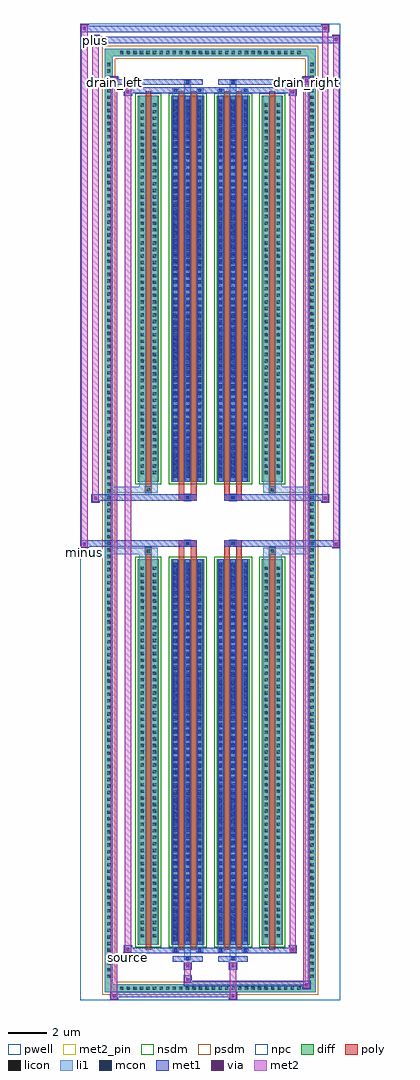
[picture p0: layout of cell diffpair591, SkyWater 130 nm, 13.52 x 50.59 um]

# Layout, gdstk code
import gdstk
lib = gdstk.Library(unit=1e-6, precision=5e-09)
def R(c, l, rs):  # rectangles x0, y0, x1, y1
    for r in rs: c.add(gdstk.rectangle(r[:2], r[2:], *l))
def A(c, l, x, y, w, h, nx, ny, dx, dy):  # array of equal rectangles
    R(c, l, [(x+i*dx, y+j*dy, x+i*dx+w, y+j*dy+h) for i in range(nx) for j in range(ny)])
def P(c, l, *ps):  # polygons
    for p in ps: c.add(gdstk.Polygon(p, *l))
pwell = (64, 44)
diff = (65, 20)
poly = (66, 20)
licon = (66, 44)
li1 = (67, 20)
mcon = (67, 44)
met1 = (68, 20)
via = (68, 44)
met2_pin = (69, 16)
met2 = (69, 20)
nsdm = (93, 44)
psdm = (94, 20)
npc = (95, 20)

diffpair591 = lib.new_cell('diffpair591')
R(diffpair591, pwell, [(-6.74,-24.86,6.74,25.73), (-4.06,-23.05,-0.01,-0.825), (0.01,-23.05,4.06,-0.825), (-4.06,0.825,-0.01,23.05), (0.01,0.825,4.06,23.05)])
A(diffpair591, diff, -4.795, -24.46, 0.41, 0.41, 28, 2, 0.34, 48.51)
A(diffpair591, diff, -5.47, -23.835, 0.41, 0.41, 1, 140, 0, 0.34)
A(diffpair591, diff, 5.06, -23.835, 0.41, 0.41, 1, 140, 0, 0.34)
R(diffpair591, diff, [(-4.795,-24.46,4.795,-24.05), (-5.47,-23.835,-5.06,23.835), (5.06,-23.835,5.47,23.835), (-3.75,-22.005,-2.67,-2.005), (-2.03,-22.005,-0.32,-2.005), (0.32,-22.005,2.03,-2.005), (2.67,-22.005,3.75,-2.005), (-3.75,2.005,-2.67,22.005), (-2.03,2.005,-0.32,22.005), (0.32,2.005,2.03,22.005), (2.67,2.005,3.75,22.005), (-4.795,24.05,4.795,24.46)])
P(diffpair591, diff, [(5.47,24.46),(-5.47,24.46),(-5.47,-24.05),(-5.06,-24.05),(-5.06,24.05),(5.06,24.05),(5.06,-24.05),(-5.06,-24.05),(-5.47,-24.05),(-5.47,-24.46),(5.47,-24.46)])
R(diffpair591, poly, [(-3.36,-22.255,-3.06,-1.755), (-1.64,-22.255,-1.34,-1.755), (-1.01,-22.255,-0.71,-1.755), (0.71,-22.255,1.01,-1.755), (1.34,-22.255,1.64,-1.755), (3.06,-22.255,3.36,-1.755), (-3.375,-1.755,-3.045,-1.425), (-3.375,-1.755,-3.045,-1.425), (-1.64,-1.755,-1.34,-1.355), (-1.01,-1.755,-0.71,-1.355), (0.71,-1.755,1.01,-1.355), (1.34,-1.755,1.64,-1.355), (3.045,-1.755,3.375,-1.425), (3.045,-1.755,3.375,-1.425), (-1.64,-1.355,-0.71,-1.025), (-1.34,-1.355,-1.01,-1.025), (0.71,-1.355,1.64,-1.025), (1.01,-1.355,1.34,-1.025), (-1.64,1.025,-0.71,1.355), (-1.34,1.025,-1.01,1.355), (0.71,1.025,1.64,1.355), (1.01,1.025,1.34,1.355), (-1.64,1.355,-1.34,1.755), (-1.01,1.355,-0.71,1.755), (0.71,1.355,1.01,1.755), (1.34,1.355,1.64,1.755), (-3.375,1.425,-3.045,1.755), (-3.375,1.425,-3.045,1.755), (3.045,1.425,3.375,1.755), (3.045,1.425,3.375,1.755), (-3.36,1.755,-3.06,22.255), (-1.64,1.755,-1.34,22.255), (-1.01,1.755,-0.71,22.255), (0.71,1.755,1.01,22.255), (1.34,1.755,1.64,22.255), (3.06,1.755,3.36,22.255)])
A(diffpair591, licon, -4.675, -24.34, 0.17, 0.17, 28, 2, 0.34, 48.51)
A(diffpair591, licon, -5.35, -23.715, 0.17, 0.17, 1, 140, 0, 0.34)
A(diffpair591, licon, 5.18, -23.715, 0.17, 0.17, 1, 140, 0, 0.34)
A(diffpair591, licon, -3.61, -21.61, 0.17, 0.17, 1, 57, 0, 0.34)
A(diffpair591, licon, -2.98, -21.61, 0.17, 0.17, 1, 57, 0, 0.34)
A(diffpair591, licon, -1.89, -21.61, 0.17, 0.17, 3, 57, 0.63, 0.34)
A(diffpair591, licon, 0.46, -21.61, 0.17, 0.17, 3, 57, 0.63, 0.34)
A(diffpair591, licon, 2.81, -21.61, 0.17, 0.17, 1, 57, 0, 0.34)
A(diffpair591, licon, 3.44, -21.61, 0.17, 0.17, 1, 57, 0, 0.34)
A(diffpair591, licon, -3.61, 2.4, 0.17, 0.17, 1, 57, 0, 0.34)
A(diffpair591, licon, -2.98, 2.4, 0.17, 0.17, 1, 57, 0, 0.34)
A(diffpair591, licon, -1.89, 2.4, 0.17, 0.17, 3, 57, 0.63, 0.34)
A(diffpair591, licon, 0.46, 2.4, 0.17, 0.17, 3, 57, 0.63, 0.34)
A(diffpair591, licon, 2.81, 2.4, 0.17, 0.17, 1, 57, 0, 0.34)
A(diffpair591, licon, 3.44, 2.4, 0.17, 0.17, 1, 57, 0, 0.34)
R(diffpair591, licon, [(-3.295,-1.675,-3.125,-1.505), (3.125,-1.675,3.295,-1.505), (-1.26,-1.275,-1.09,-1.105), (1.09,-1.275,1.26,-1.105), (-1.26,1.105,-1.09,1.275), (1.09,1.105,1.26,1.275), (-3.295,1.505,-3.125,1.675), (3.125,1.505,3.295,1.675)])
A(diffpair591, li1, -4.755, -24.42, 0.33, 0.33, 28, 2, 0.34, 48.51)
A(diffpair591, li1, -5.43, -23.795, 0.33, 0.33, 1, 140, 0, 0.34)
A(diffpair591, li1, 5.1, -23.795, 0.33, 0.33, 1, 140, 0, 0.34)
A(diffpair591, li1, -1.97, -22.005, 0.33, 20, 3, 2, 0.63, 24.01)
A(diffpair591, li1, 0.38, -22.005, 0.33, 20, 3, 2, 0.63, 24.01)
A(diffpair591, li1, -1.89, -21.81, 0.17, 0.17, 3, 55, 0.63, 0.36)
A(diffpair591, li1, -1.89, -21.81, 0.17, 19.61, 3, 2, 0.63, 24.01)
A(diffpair591, li1, 0.46, -21.81, 0.17, 0.17, 3, 55, 0.63, 0.36)
A(diffpair591, li1, 0.46, -21.81, 0.17, 19.61, 3, 2, 0.63, 24.01)
A(diffpair591, li1, -3.69, -21.69, 0.33, 0.33, 1, 57, 0, 0.34)
A(diffpair591, li1, -3.06, -21.69, 0.33, 0.33, 1, 57, 0, 0.34)
A(diffpair591, li1, -1.97, -21.69, 0.33, 0.33, 3, 57, 0.63, 0.34)
A(diffpair591, li1, 0.38, -21.69, 0.33, 0.33, 3, 57, 0.63, 0.34)
A(diffpair591, li1, 2.73, -21.69, 0.33, 0.33, 1, 57, 0, 0.34)
A(diffpair591, li1, 3.36, -21.69, 0.33, 0.33, 1, 57, 0, 0.34)
A(diffpair591, li1, -1.89, 2.2, 0.17, 0.17, 3, 55, 0.63, 0.36)
A(diffpair591, li1, 0.46, 2.2, 0.17, 0.17, 3, 55, 0.63, 0.36)
A(diffpair591, li1, -3.69, 2.32, 0.33, 0.33, 1, 57, 0, 0.34)
A(diffpair591, li1, -3.06, 2.32, 0.33, 0.33, 1, 57, 0, 0.34)
A(diffpair591, li1, -1.97, 2.32, 0.33, 0.33, 3, 57, 0.63, 0.34)
A(diffpair591, li1, 0.38, 2.32, 0.33, 0.33, 3, 57, 0.63, 0.34)
A(diffpair591, li1, 2.73, 2.32, 0.33, 0.33, 1, 57, 0, 0.34)
A(diffpair591, li1, 3.36, 2.32, 0.33, 0.33, 1, 57, 0, 0.34)
R(diffpair591, li1, [(-5.47,-24.46,-5.06,-24.05), (-5.47,-24.46,-5.06,-24.05), (-5.06,-24.46,5.06,-24.05), (5.06,-24.46,5.47,-24.05), (5.06,-24.46,5.47,-24.05), (-5.47,-24.05,-5.06,24.05), (5.06,-24.05,5.47,24.05), (-1.34,-22.81,-1.01,-22.005), (-1.26,-22.81,-1.09,-22.64), (1.01,-22.81,1.34,-22.005), (1.09,-22.81,1.26,-22.64), (-1.97,-22.38,-1.64,-22.005), (-1.89,-22.38,-1.72,-22.21), (-0.71,-22.38,-0.38,-22.005), (-0.63,-22.38,-0.46,-22.21), (0.38,-22.38,0.71,-22.005), (0.46,-22.38,0.63,-22.21), (1.64,-22.38,1.97,-22.005), (1.72,-22.38,1.89,-22.21), (-3.69,-22.005,-3.36,-2.005), (-3.06,-22.005,-2.73,-2.005), (2.73,-22.005,3.06,-2.005), (3.36,-22.005,3.69,-2.005), (-3.69,-2.005,-3.36,-1.425), (-3.06,-2.005,-2.73,-1.425), (2.73,-2.005,3.06,-1.425), (3.36,-2.005,3.69,-1.425), (-5.47,-1.755,-3.375,-1.425), (-3.69,-1.755,-3.375,-1.425), (-3.375,-1.755,-3.045,-1.425), (-3.045,-1.755,-2.73,-1.425), (2.73,-1.755,3.045,-1.425), (3.045,-1.755,3.375,-1.425), (3.045,-1.755,5.47,-1.425), (3.375,-1.755,3.69,-1.425), (-1.34,-1.355,-1.01,-1.025), (1.01,-1.355,1.34,-1.025), (-1.34,1.025,-1.01,1.355), (1.01,1.025,1.34,1.355), (-5.47,1.425,-3.375,1.755), (-3.69,1.425,-3.375,1.755), (-3.69,1.425,-3.36,2.005), (-3.375,1.425,-3.045,1.755), (-3.06,1.425,-2.73,2.005), (-3.045,1.425,-2.73,1.755), (2.73,1.425,3.045,1.755), (2.73,1.425,3.06,2.005), (3.045,1.425,3.375,1.755), (3.045,1.425,5.47,1.755), (3.36,1.425,3.69,2.005), (3.375,1.425,3.69,1.755), (-3.69,2.005,-3.36,22.005), (-3.06,2.005,-2.73,22.005), (2.73,2.005,3.06,22.005), (3.36,2.005,3.69,22.005), (-1.97,22.005,-1.64,22.38), (-1.34,22.005,-1.01,22.81), (-0.71,22.005,-0.38,22.38), (0.38,22.005,0.71,22.38), (1.01,22.005,1.34,22.81), (1.64,22.005,1.97,22.38), (-1.89,22.21,-1.72,22.38), (-0.63,22.21,-0.46,22.38), (0.46,22.21,0.63,22.38), (1.72,22.21,1.89,22.38), (-1.26,22.64,-1.09,22.81), (1.09,22.64,1.26,22.81), (-5.47,24.05,-5.06,24.46), (-5.47,24.05,-5.06,24.46), (-5.06,24.05,5.06,24.46), (5.06,24.05,5.47,24.46), (5.06,24.05,5.47,24.46)])
A(diffpair591, mcon, -1.89, -21.81, 0.17, 0.17, 3, 55, 0.63, 0.36)
A(diffpair591, mcon, 0.46, -21.81, 0.17, 0.17, 3, 55, 0.63, 0.36)
A(diffpair591, mcon, -1.89, 2.2, 0.17, 0.17, 3, 55, 0.63, 0.36)
A(diffpair591, mcon, 0.46, 2.2, 0.17, 0.17, 3, 55, 0.63, 0.36)
R(diffpair591, mcon, [(-1.26,-22.81,-1.09,-22.64), (1.09,-22.81,1.26,-22.64), (-1.89,-22.38,-1.72,-22.21), (-0.63,-22.38,-0.46,-22.21), (0.46,-22.38,0.63,-22.21), (1.72,-22.38,1.89,-22.21), (-1.26,-1.275,-1.09,-1.105), (1.09,-1.275,1.26,-1.105), (-1.26,1.105,-1.09,1.275), (1.09,1.105,1.26,1.275), (-1.89,22.21,-1.72,22.38), (-0.63,22.21,-0.46,22.38), (0.46,22.21,0.63,22.38), (1.72,22.21,1.89,22.38), (-1.26,22.64,-1.09,22.81), (1.09,22.64,1.26,22.81)])
A(diffpair591, met1, -1.95, -22.005, 0.29, 20, 3, 2, 0.63, 24.01)
A(diffpair591, met1, 0.4, -22.005, 0.29, 20, 3, 2, 0.63, 24.01)
A(diffpair591, met1, -1.95, -21.87, 0.29, 0.29, 3, 55, 0.63, 0.36)
A(diffpair591, met1, 0.4, -21.87, 0.29, 0.29, 3, 55, 0.63, 0.36)
A(diffpair591, met1, -1.95, 2.14, 0.29, 0.29, 3, 55, 0.63, 0.36)
A(diffpair591, met1, 0.4, 2.14, 0.29, 0.29, 3, 55, 0.63, 0.36)
R(diffpair591, met1, [(-5.2,-24.86,-4.77,-24.43), (0.96,-24.86,1.39,-24.43), (-5.2,-24.72,1.39,-24.43), (4.77,-24.29,5.2,-23.86), (-1.39,-24.15,5.2,-23.86), (-1.39,-24.01,-0.96,-23.58), (-1.39,-23.3,-0.96,-22.87), (0.96,-23.3,1.39,-22.87), (-1.95,-22.87,-0.4,-22.58), (-1.32,-22.87,-1.03,-22.58), (0.4,-22.87,1.95,-22.58), (1.03,-22.87,1.32,-22.58), (-4.49,-22.44,-4.06,-22.01), (-4.49,-22.44,-1.95,-22.15), (-1.95,-22.44,-1.66,-22.15), (-1.95,-22.44,-0.4,-22.15), (-0.69,-22.44,-0.4,-22.15), (-0.4,-22.44,0.4,-22.15), (0.4,-22.44,0.69,-22.15), (0.4,-22.44,1.95,-22.15), (1.66,-22.44,1.95,-22.15), (1.95,-22.44,4.49,-22.15), (4.06,-22.44,4.49,-22.01), (-6.74,-1.455,-6.31,-1.025), (6.31,-1.455,6.74,-1.025), (-6.74,-1.355,-0.71,-1.025), (-1.64,-1.355,-0.71,-1.025), (0.71,-1.355,1.64,-1.025), (0.71,-1.355,6.74,-1.025), (-1.32,-1.335,-1.03,-1.045), (1.03,-1.335,1.32,-1.045), (-6.17,0.925,-5.74,1.355), (5.74,0.925,6.17,1.355), (-6.17,1.025,-1.64,1.355), (-1.64,1.025,-0.71,1.355), (0.71,1.025,1.64,1.355), (1.64,1.025,6.17,1.355), (-1.32,1.045,-1.03,1.335), (1.03,1.045,1.32,1.335), (-4.49,22.01,-4.06,22.44), (4.06,22.01,4.49,22.44), (-4.49,22.15,-1.95,22.44), (-1.95,22.15,-1.66,22.44), (-1.95,22.15,-0.4,22.44), (-0.69,22.15,-0.4,22.44), (-0.4,22.15,0.4,22.44), (0.4,22.15,0.69,22.44), (0.4,22.15,1.95,22.44), (1.66,22.15,1.95,22.44), (1.95,22.15,4.49,22.44), (-5.2,22.58,-4.77,23.01), (-5.2,22.58,-1.95,22.87), (-1.95,22.58,-0.4,22.87), (-1.32,22.58,-1.03,22.87), (0.4,22.58,1.95,22.87), (1.03,22.58,1.32,22.87), (1.95,22.58,5.2,22.87), (4.77,22.58,5.2,23.01), (-6.17,24.73,-5.74,25.16), (-6.17,24.73,-4.06,25.06), (-4.06,24.73,4.06,25.06), (4.06,24.73,6.74,25.06), (6.31,24.73,6.74,25.16), (-6.74,25.3,-6.31,25.73), (-6.74,25.3,-4.06,25.63), (-4.06,25.3,4.06,25.63), (4.06,25.3,6.17,25.63), (5.74,25.3,6.17,25.73)])
R(diffpair591, via, [(-5.06,-24.72,-4.91,-24.57), (1.1,-24.72,1.25,-24.57), (4.91,-24.15,5.06,-24), (-1.25,-23.87,-1.1,-23.72), (-1.25,-23.16,-1.1,-23.01), (1.1,-23.16,1.25,-23.01), (-4.35,-22.3,-4.2,-22.15), (4.2,-22.3,4.35,-22.15), (-6.6,-1.315,-6.45,-1.165), (6.45,-1.315,6.6,-1.165), (-6.03,1.065,-5.88,1.215), (5.88,1.065,6.03,1.215), (-4.35,22.15,-4.2,22.3), (4.2,22.15,4.35,22.3), (-5.06,22.72,-4.91,22.87), (4.91,22.72,5.06,22.87), (-6.03,24.87,-5.88,25.02), (6.45,24.87,6.6,25.02), (-6.6,25.44,-6.45,25.59), (5.88,25.44,6.03,25.59)])
R(diffpair591, met2_pin, [(-4.525,-22.89,-4.025,-22.39), (-6.775,-1.905,-6.275,-1.405), (-5.235,22.46,-4.735,22.96), (4.735,22.46,5.235,22.96), (-6.205,24.61,-5.705,25.11)])
R(diffpair591, met2, [(-5.15,-24.81,-4.82,-24.48), (-5.15,-24.81,-4.82,22.96), (1.01,-24.81,1.34,-24.48), (1.01,-24.48,1.34,-23.25), (4.82,-24.24,5.15,-23.91), (4.82,-24.24,5.15,22.96), (-1.34,-23.96,-1.01,-23.63), (-1.34,-23.63,-1.01,-23.25), (-1.34,-23.25,-1.01,-22.92), (1.01,-23.25,1.34,-22.92), (-4.44,-22.39,-4.11,-22.06), (-4.44,-22.39,-4.11,22.39), (4.11,-22.39,4.44,-22.06), (4.11,-22.39,4.44,22.39), (-6.69,-1.405,-6.36,-1.075), (-6.69,-1.405,-6.36,25.68), (6.36,-1.405,6.69,-1.075), (6.36,-1.405,6.69,25.11), (-6.12,0.975,-5.79,1.305), (-6.12,0.975,-5.79,25.11), (5.79,0.975,6.12,1.305), (5.79,0.975,6.12,25.68), (-4.44,22.06,-4.11,22.39), (4.11,22.06,4.44,22.39), (-5.15,22.63,-4.82,22.96), (4.82,22.63,5.15,22.96), (-6.12,24.78,-5.79,25.11), (6.36,24.78,6.69,25.11), (-6.69,25.35,-6.36,25.68), (5.79,25.35,6.12,25.68)])
P(diffpair591, met2, [(6.69,-1.405),(6.69,-1.405),(6.69,-1.075),(6.69,-1.075)],
  [(6.69,24.78),(6.69,24.78),(6.69,25.11),(6.69,25.11)],
  [(-6.36,-1.405),(-6.36,-1.405),(-6.36,-1.075),(-6.36,-1.075)],
  [(-6.36,25.35),(-6.36,25.35),(-6.36,25.68),(-6.36,25.68)],
  [(6.12,0.975),(6.12,0.975),(6.12,1.305),(6.12,1.305)],
  [(6.12,25.35),(6.12,25.35),(6.12,25.68),(6.12,25.68)],
  [(-5.79,0.975),(-5.79,0.975),(-5.79,1.305),(-5.79,1.305)],
  [(-5.79,24.78),(-5.79,24.78),(-5.79,25.11),(-5.79,25.11)],
  [(-4.82,-24.81),(-4.82,-24.81),(-4.82,-24.48),(-4.82,-24.48)],
  [(-4.82,22.63),(-4.82,22.63),(-4.82,22.96),(-4.82,22.96)],
  [(5.15,-24.24),(5.15,-24.24),(5.15,-23.91),(5.15,-23.91)],
  [(5.15,22.63),(5.15,22.63),(5.15,22.96),(5.15,22.96)],
  [(-4.11,-22.39),(-4.11,-22.39),(-4.11,-22.06),(-4.11,-22.06)],
  [(-4.11,22.06),(-4.11,22.06),(-4.11,22.39),(-4.11,22.39)],
  [(4.44,-22.39),(4.44,-22.39),(4.44,-22.06),(4.44,-22.06)],
  [(4.44,22.06),(4.44,22.06),(4.44,22.39),(4.44,22.39)])
R(diffpair591, nsdm, [(-3.88,-22.135,-2.54,-1.875), (-2.16,-22.135,-0.19,-1.875), (0.19,-22.135,2.16,-1.875), (2.54,-22.135,3.88,-1.875), (-3.88,1.875,-2.54,22.135), (-2.16,1.875,-0.19,22.135), (0.19,1.875,2.16,22.135), (2.54,1.875,3.88,22.135)])
P(diffpair591, psdm, [(5.6,24.59),(-5.6,24.59),(-5.6,-23.92),(-4.93,-23.92),(-4.93,23.92),(4.93,23.92),(4.93,-23.92),(-4.93,-23.92),(-5.6,-23.92),(-5.6,-24.59),(5.6,-24.59)])
R(diffpair591, npc, [(-3.395,-1.775,-3.025,-1.405), (3.025,-1.775,3.395,-1.405), (-1.36,-1.375,-0.99,-1.005), (0.99,-1.375,1.36,-1.005), (-1.36,1.005,-0.99,1.375), (0.99,1.005,1.36,1.375), (-3.395,1.405,-3.025,1.775), (3.025,1.405,3.395,1.775)])
diffpair591.add(gdstk.Label('minus', (-6.525,-1.655), layer=69, texttype=5))
diffpair591.add(gdstk.Label('drain_right', (4.985,22.71), layer=69, texttype=5))
diffpair591.add(gdstk.Label('drain_left', (-4.985,22.71), layer=69, texttype=5))
diffpair591.add(gdstk.Label('source', (-4.275,-22.64), layer=69, texttype=5))
diffpair591.add(gdstk.Label('plus', (-5.955,24.86), layer=69, texttype=5))

lib.write_gds('diffpair591.gds')
